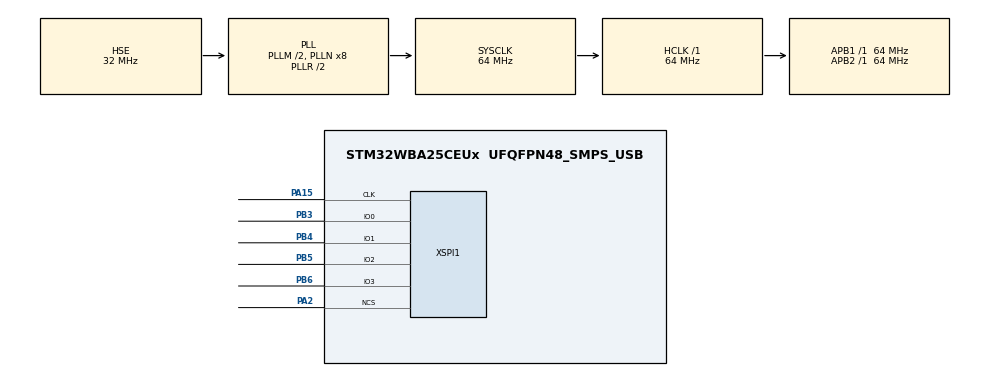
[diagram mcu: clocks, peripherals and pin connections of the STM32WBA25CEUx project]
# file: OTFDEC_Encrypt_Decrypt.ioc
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CORTEX_M33_NS.userName=CORTEX_M33
Mcu.Family=STM32WBA
Mcu.Name=STM32WBA25CEUx
Mcu.Package=UFQFPN48_SMPS_USB
NVIC.AES_IRQn=true\:0\:0\:false\:false\:true\:true\:true\:true
NVIC.OTFDEC1_IRQn=true\:0\:0\:false\:false\:true\:true\:true\:true
NVIC.PriorityGroup=NVIC_PRIORITYGROUP_4
NVIC.XSPI1_IRQn=true\:0\:0\:false\:false\:true\:true\:true\:true
OSC_IN.Mode=HSE-External-Oscillator
OSC_IN.Signal=RCC_OSC_IN
OSC_OUT.Mode=HSE-External-Oscillator
OSC_OUT.Signal=RCC_OSC_OUT
PA15\ (JTDI).Mode=quad_mode
PA15\ (JTDI).Signal=XSPI1_CLK
PA2.Mode=quad_mode
PA2.Signal=XSPI1_NCS
PB3\ (JTDO/TRACESWO).Mode=XSPI1_IO[3\:0]
PB3\ (JTDO/TRACESWO).Signal=XSPI1_IO0
PB4\ (NJTRST).Mode=XSPI1_IO[3\:0]
PB4\ (NJTRST).Signal=XSPI1_IO1
PB5.Mode=XSPI1_IO[3\:0]
PB5.Signal=XSPI1_IO2
PB6.Mode=XSPI1_IO[3\:0]
PB6.Signal=XSPI1_IO3
ProjectManager.HeapSize=0x200
ProjectManager.StackSize=0x400
ProjectManager.TargetToolchain=EWARM V9.60
RCC.ADCFreq_Value=64000000
RCC.AHB5CLKDivider=RCC_SYSCLK_PLL1_DIV2
RCC.AHBFreq_Value=64000000
RCC.APB1Freq_Value=64000000
RCC.APB1TimFreq_Value=64000000
RCC.APB2Freq_Value=64000000
RCC.APB2TimFreq_Value=64000000
RCC.CortexFreq_Value=8000000
RCC.HCLKFreq_Value=64000000
RCC.HSE_VALUE=32000000
RCC.HSI_VALUE=16000000
RCC.LSE_VALUE=32768
RCC.PLLFRACN=0
RCC.PLLM=2
RCC.PLLN=8
RCC.PLLSourceVirtual=RCC_PLLSOURCE_HSE
RCC.SYSCLKFreq_VALUE=64000000
RCC.SYSCLKSourceVirtual=RCC_SYSCLKSOURCE_PLLCLK
RCC.VCOOutputFreq_Value=128000000
VP_AES_VS_AES.Mode=AES_Activate
VP_CORTEX_M33_NS_VS_Hclk.Mode=Hclk_Mode
VP_ICACHE_VS_ICACHE.Mode=DirectMappedCache
VP_OTFDEC1_VS_OTFDEC.Mode=OTFDEC_Activate
VP_PWR_VS_SECSignals.Mode=Security/Privilege
XSPI1.ClockPrescaler=1
XSPI1.FifoThresholdByte=4
XSPI1.MemorySize=HAL_XSPI_SIZE_32MB
XSPI1.MemoryType=HAL_XSPI_MEMTYPE_MACRONIX
board=custom

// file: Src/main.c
/* USER CODE BEGIN Header */
/**
  ******************************************************************************
  * @file           : main.c
  * @brief          : Main program body
  ******************************************************************************
  * @attention
  *
  * Copyright (c) 2025 STMicroelectronics.
  * All rights reserved.
  *
  * This software is licensed under terms that can be found in the LICENSE file
  * in the root directory of this software component.
  * If no LICENSE file comes with this software, it is provided AS-IS.
  *
  ******************************************************************************
  */
/* USER CODE END Header */
#include "main.h"

CRYP_HandleTypeDef hcryp;
__ALIGN_BEGIN static const uint32_t pKeyAES[4] __ALIGN_END = {
                            0x00000000,0x00000000,0x00000000,0x00000000};

OTFDEC_HandleTypeDef hotfdec1;

XSPI_HandleTypeDef hxspi1;

/* USER CODE BEGIN PV */
__IO uint8_t CmdCplt;

const uint32_t plain_data[] = { 0x3f25110f, 0x7760604d, 0xaecc9784, 0xf0eeef65, 0x10a1d1f1,
                                0x71515641, 0xa12111e0, 0xf177d156, 0x20a2d2f2, 0x72525642,
                                0xa22212e0, 0xf278d256, 0x30a3d3f3, 0x73535643, 0xa32313e0,
                                0xf37ad356, 0x40a4d4f4, 0x74545644, 0xa42414e0, 0xf47bd456,
                                0x50a5c5f5, 0x75555645, 0xa52515e0, 0xf57cd556, 0x60a6c6f6,
                                0x76565646, 0xa62616e0, 0xf67df6d6, 0x70a7c7e7, 0x77575647,
                                0xa72717e0, 0xf77ed756, 0x8028c8e8, 0x78585648, 0xa82818e0,
                                0xf8e8d8c8, 0xa02acaea, 0x7a5a564a, 0xaa2a1afa, 0xfaeadaca,
                                0xb0ebcbeb, 0x7b5b564b, 0xab2b1bfb, 0x77ebdb56, 0x4cec1cc0,
                                0x7c5c564c, 0xacac1cfc, 0x78ecdc56, 0x3ded9dd0, 0x7d5d564d,
                                0xadad1dfd, 0x7aeddd56, 0x5eee9ee0, 0x7e5e564e, 0xbeee1efe,
                                0x7beede56, 0x1fef9ff0, 0x7f6f564f, 0xbfaf1fff, 0x7cefdf56};

uint32_t Ciphered_data[256];
uint32_t Plain_AES_test[2*PLAIN_SIZE] = {0};
CRYP_HandleTypeDef hcryp;

uint32_t Key[4][4]     = { { 0x71234567, 0x89ABCDEF, 0x71234567, 0x89ABCDEF },
                           { 0xEDCBA987, 0x6543210F, 0xEDCBA987, 0x6543210F },
                           { 0x23456789, 0xABCDEF01, 0x23456789, 0xABCDEF01 },
                           { 0xCBA98765, 0x43210FED, 0xCBA98765, 0x43210FED }
};

uint32_t Nonce[2][2]   =    { { 0xA5A5A5A5, 0xC3C3C3C3 },
                              { 0x11111111, 0x55555555 }
};

OTFDEC_HandleTypeDef hotfdec;
/* USER CODE END PV */

void SystemClock_Config(void);
static void MX_GPIO_Init(void);
static void MX_ICACHE_Init(void);
static void MX_XSPI1_Init(void);
static void MX_OTFDEC1_Init(void);
static void MX_AES_Init(void);
/* USER CODE BEGIN PFP */
static void XSPI_WriteEnable(XSPI_HandleTypeDef *hxspi);
static void XSPI_AutoPollingMemReady(XSPI_HandleTypeDef *hxspi);
static void XSPI_AutoPollingMemWriteEnable(XSPI_HandleTypeDef *hxspi);
static void XSPI_QuadModeCfg(XSPI_HandleTypeDef *hxspi);
static void CRYP_Cipher(uint32_t index,uint32_t* pRange, uint32_t start_adress_writing_region);

/* USER CODE END PFP */

int main(void)
{

  /* USER CODE BEGIN 1 */
  XSPI_RegularCmdTypeDef sCommand = {0};
  XSPI_MemoryMappedTypeDef sMemMappedCfg = {0};
  uint32_t address = 0;
  uint16_t index;
  __IO uint32_t *mem_addr;
  uint32_t Not_Identic =0 ;
  /* STM32WBAxx HAL library initialization:
  - Systick timer is configured by default as source of time base, but user
  can eventually implement his proper time base source (a general purpose
  timer for example or other time source), keeping in mind that Time base
  duration should be kept 1ms since PPP_TIMEOUT_VALUEs are defined and
  handled in milliseconds basis.
  - Set NVIC Group Priority to 4
  - Low Level Initialization
  */
  /* USER CODE END 1 */

  /* MCU Configuration--------------------------------------------------------*/

  /* Reset of all peripherals, Initializes the Flash interface and the Systick. */
  HAL_Init();

  /* Configure the system clock */
  SystemClock_Config();

  /* USER CODE BEGIN SysInit */
  /* Configure LD1, LD2 and LD3 */
  BSP_LED_Init(LD1);
  BSP_LED_Init(LD2);
  BSP_LED_Init(LD3);
  /* USER CODE END SysInit */

  /* Initialize all configured peripherals */
  MX_GPIO_Init();
  MX_ICACHE_Init();
  MX_XSPI1_Init();
  MX_OTFDEC1_Init();
  MX_AES_Init();
  /* USER CODE BEGIN 2 */
  /* Configure the memory in quad mode ------------------------------------- */
  XSPI_QuadModeCfg(&hxspi1);

  sCommand.InstructionMode    = HAL_XSPI_INSTRUCTION_1_LINE;
  sCommand.InstructionWidth   = HAL_XSPI_INSTRUCTION_8_BITS;
  sCommand.InstructionDTRMode = HAL_XSPI_INSTRUCTION_DTR_DISABLE;
  sCommand.AddressWidth       = HAL_XSPI_ADDRESS_24_BITS;
  sCommand.AddressDTRMode     = HAL_XSPI_ADDRESS_DTR_DISABLE;
  sCommand.AlternateBytesMode = HAL_XSPI_ALT_BYTES_NONE;
  sCommand.DataDTRMode        = HAL_XSPI_DATA_DTR_DISABLE;
  sCommand.DQSMode            = HAL_XSPI_DQS_DISABLE;

  /* Enable write operations ------------------------------------------ */
  XSPI_WriteEnable(&hxspi1);

  /* Erasing Sequence ------------------------------------------------- */
  sCommand.OperationType = HAL_XSPI_OPTYPE_COMMON_CFG;
  sCommand.Instruction   = SECTOR_ERASE_CMD;
  sCommand.AddressMode   = HAL_XSPI_ADDRESS_1_LINE;
  sCommand.Address       = address;
  sCommand.DataMode      = HAL_XSPI_DATA_NONE;
  sCommand.DummyCycles   = 0U;

  if (HAL_XSPI_Command_IT(&hxspi1, &sCommand) != HAL_OK)
  {
    Error_Handler();
  }

  /* Configure automatic polling mode to wait for end of erase ------ */
  XSPI_AutoPollingMemReady(&hxspi1);

  /* Enable write operations ---------------------------------------- */
  XSPI_WriteEnable(&hxspi1);

  /* Writing Sequence ----------------------------------------------- */
  sCommand.Instruction        = QUAD_PAGE_PROG_CMD;
  sCommand.Address            = address;
  sCommand.AddressMode        = HAL_XSPI_ADDRESS_4_LINES;
  sCommand.DataLength         = BUFFERSIZE;
  sCommand.DummyCycles        = 0U;
  sCommand.DataMode           = HAL_XSPI_DATA_4_LINES;

  if (HAL_XSPI_Command(&hxspi1, &sCommand, HAL_XSPI_TIMEOUT_DEFAULT_VALUE) != HAL_OK)
  {
    Error_Handler();
  }

  /* Encrypt the plain data ------------------------------------- */
  CRYP_Cipher(0,(uint32_t*)0x90000000,0);

  /* Transfer the encrypted data to the external memory ------------------------------------- */
  if(HAL_XSPI_Transmit(&hxspi1, (uint8_t*)Ciphered_data,  BUFFERSIZE) != HAL_OK)
  {
    Error_Handler();
  }

  /* Memory-mapped mode configuration ------------------------------- */
  sCommand.OperationType = HAL_XSPI_OPTYPE_READ_CFG;
  sCommand.Instruction   = FOUR_IO_READ_CMD;
  sCommand.DummyCycles   = DUMMY_CLOCK_CYCLES_4READ;
  sCommand.AddressMode   = HAL_XSPI_ADDRESS_4_LINES;

  if (HAL_XSPI_Command(&hxspi1, &sCommand, HAL_XSPI_TIMEOUT_DEFAULT_VALUE) != HAL_OK)
  {
    Error_Handler();
  }

  sMemMappedCfg.TimeOutActivation  = HAL_XSPI_TIMEOUT_COUNTER_ENABLE;
  sMemMappedCfg.TimeoutPeriodClock = 0x50U;
   if (HAL_XSPI_MemoryMapped(&hxspi1, &sMemMappedCfg) != HAL_OK)
  {
    Error_Handler();
  }

  /* In memory-mapped mode, not possible to check if the memory is ready
  after the programming. So a delay corresponding to max page programming
  time is added */
  HAL_Delay(MEMORY_PAGE_PROG_DELAY);

  OTFDEC_RegionConfigTypeDef Config;

  hotfdec.Instance = OTFDEC1;
  HAL_OTFDEC_DeInit(&hotfdec);
  if (HAL_OTFDEC_Init(&hotfdec) != HAL_OK)
  {
    Error_Handler();
  }

  __HAL_OTFDEC_ENABLE_IT(&hotfdec, OTFDEC_ALL_INT);

  /* Set OTFDEC Mode */
  if (HAL_OTFDEC_RegionSetMode(&hotfdec, 0, OTFDEC_REG_MODE_INSTRUCTION_OR_DATA_ACCESSES) != HAL_OK)
  {
    Error_Handler();
  }
  /* Set OTFDEC Key */
  if (HAL_OTFDEC_RegionSetKey(&hotfdec, 0, Key[0])  != HAL_OK)
  {
    Error_Handler();
  }

  /* Configure and lock region,enable OTFDEC decryption */
  Config.Nonce[0]     = Nonce[0][0];
  Config.Nonce[1]     = Nonce[0][1];
  Config.StartAddress = 0x90000000;
  Config.EndAddress   = 0x90000fff;
  Config.Version      = 0xFEDC;
  if (HAL_OTFDEC_RegionConfig(&hotfdec, 0, &Config, OTFDEC_REG_CONFIGR_LOCK_ENABLE) != HAL_OK)
  {
    Error_Handler();
  }

  /* Reading Sequence ----------------------------------------------- */
  mem_addr = (uint32_t *)(XSPI1_BASE_MM + address);
  for (index = 0; index < 60; index++)
  {
    if (*mem_addr != plain_data[index])
    {
      Not_Identic++;
    }
    mem_addr++;
  }

  if (Not_Identic !=0)
  {
    Error_Handler();
  }
  else{
    BSP_LED_Toggle(LD1);
    HAL_Delay(50);

    address += XSPI_PAGE_SIZE;
    if(address >= XSPI_END_ADDR)
    {
      address = 0;
    }

    /* Abort XSPI driver to stop the memory-mapped mode ------------ */
    if (HAL_XSPI_Abort(&hxspi1) != HAL_OK)
    {
      Error_Handler();
    }
  }
  /* USER CODE END 2 */

  /* Infinite loop */
  while (1)
  {

  }
}

void SystemClock_Config(void)
{
  RCC_OscInitTypeDef RCC_OscInitStruct = {0};
  RCC_ClkInitTypeDef RCC_ClkInitStruct = {0};

  /** Supply configuration update enable
  */
  HAL_PWREx_ConfigSupply(PWR_LDO_SUPPLY);

  /** Configure the main internal regulator output voltage
  */
  if (HAL_PWREx_ControlVoltageScaling(PWR_REGULATOR_VOLTAGE_SCALE1) != HAL_OK)
  {
    Error_Handler();
  }

  /** Initializes the CPU, AHB and APB busses clocks
  */
  RCC_OscInitStruct.OscillatorType = RCC_OSCILLATORTYPE_HSE;
  RCC_OscInitStruct.HSEState = RCC_HSE_ON;
  RCC_OscInitStruct.HSEDiv = RCC_HSE_DIV1;
  RCC_OscInitStruct.PLL1.PLLState = RCC_PLL_ON;
  RCC_OscInitStruct.PLL1.PLLSource = RCC_PLLSOURCE_HSE;
  RCC_OscInitStruct.PLL1.PLLM = 2;
  RCC_OscInitStruct.PLL1.PLLN = 8;
  RCC_OscInitStruct.PLL1.PLLP = 2;
  RCC_OscInitStruct.PLL1.PLLQ = 2;
  RCC_OscInitStruct.PLL1.PLLR = 2;
  RCC_OscInitStruct.PLL1.PLLFractional = 0;
  if (HAL_RCC_OscConfig(&RCC_OscInitStruct) != HAL_OK)
  {
    Error_Handler();
  }

  /** Initializes the CPU, AHB and APB busses clocks
  */
  RCC_ClkInitStruct.ClockType = RCC_CLOCKTYPE_HCLK|RCC_CLOCKTYPE_SYSCLK
                              |RCC_CLOCKTYPE_PCLK1|RCC_CLOCKTYPE_PCLK2
                              |RCC_CLOCKTYPE_PCLK7|RCC_CLOCKTYPE_HCLK5;
  RCC_ClkInitStruct.SYSCLKSource = RCC_SYSCLKSOURCE_PLLCLK;
  RCC_ClkInitStruct.AHBCLKDivider = RCC_SYSCLK_DIV1;
  RCC_ClkInitStruct.APB1CLKDivider = RCC_HCLK_DIV1;
  RCC_ClkInitStruct.APB2CLKDivider = RCC_HCLK_DIV1;
  RCC_ClkInitStruct.APB7CLKDivider = RCC_HCLK_DIV1;
  RCC_ClkInitStruct.AHB5_PLL1_CLKDivider = RCC_SYSCLK_PLL1_DIV2;
  RCC_ClkInitStruct.AHB5_HSEHSI_CLKDivider = RCC_SYSCLK_HSEHSI_DIV1;

  if (HAL_RCC_ClockConfig(&RCC_ClkInitStruct, FLASH_LATENCY_1) != HAL_OK)
  {
    Error_Handler();
  }
}

static void MX_AES_Init(void)
{

  hcryp.Instance = AES;
  hcryp.Init.DataType = CRYP_NO_SWAP;
  hcryp.Init.KeySize = CRYP_KEYSIZE_128B;
  hcryp.Init.pKey = (uint32_t *)pKeyAES;
  hcryp.Init.Algorithm = CRYP_AES_ECB;
  hcryp.Init.DataWidthUnit = CRYP_DATAWIDTHUNIT_WORD;
  hcryp.Init.HeaderWidthUnit = CRYP_HEADERWIDTHUNIT_WORD;
  hcryp.Init.KeyIVConfigSkip = CRYP_KEYIVCONFIG_ALWAYS;
  if (HAL_CRYP_Init(&hcryp) != HAL_OK)
  {
    Error_Handler();
  }

}

static void MX_ICACHE_Init(void)
{

  /** Enable instruction cache in 1-way (direct mapped cache)
  */
  if (HAL_ICACHE_ConfigAssociativityMode(ICACHE_1WAY) != HAL_OK)
  {
    Error_Handler();
  }
  if (HAL_ICACHE_Enable() != HAL_OK)
  {
    Error_Handler();
  }

}

static void MX_OTFDEC1_Init(void)
{

  hotfdec1.Instance = OTFDEC1;
  if (HAL_OTFDEC_Init(&hotfdec1) != HAL_OK)
  {
    Error_Handler();
  }

}

static void MX_XSPI1_Init(void)
{

  /* XSPI1 parameter configuration*/
  hxspi1.Instance = XSPI1;
  hxspi1.Init.FifoThresholdByte = 4;
  hxspi1.Init.MemoryMode = HAL_XSPI_SINGLE_MEM;
  hxspi1.Init.MemoryType = HAL_XSPI_MEMTYPE_MACRONIX;
  hxspi1.Init.MemorySize = HAL_XSPI_SIZE_32MB;
  hxspi1.Init.ChipSelectHighTimeCycle = 1;
  hxspi1.Init.FreeRunningClock = HAL_XSPI_FREERUNCLK_DISABLE;
  hxspi1.Init.ClockMode = HAL_XSPI_CLOCK_MODE_0;
  hxspi1.Init.ClockPrescaler = 1;
  hxspi1.Init.SampleShifting = HAL_XSPI_SAMPLE_SHIFT_NONE;
  hxspi1.Init.DelayHoldQuarterCycle = HAL_XSPI_DHQC_DISABLE;
  hxspi1.Init.DelayBlockBypass = HAL_XSPI_DELAY_BLOCK_BYPASS;
  hxspi1.Init.MemorySelect = HAL_XSPI_CSSEL_NCS1;
  if (HAL_XSPI_Init(&hxspi1) != HAL_OK)
  {
    Error_Handler();
  }

}

static void MX_GPIO_Init(void)
{

  /* GPIO Ports Clock Enable */
  __HAL_RCC_GPIOA_CLK_ENABLE();
  __HAL_RCC_GPIOB_CLK_ENABLE();

}

/* USER CODE BEGIN 4 */
/**
  * @brief  Command completed callback.
  * @param  hxspi: XSPI handle
  * @retval None
  */
void HAL_XSPI_CmdCpltCallback(XSPI_HandleTypeDef *hxspi)
{
  CmdCplt++;
}

/**
  * @brief  Transfer Error callback.
  * @param  hxspi: XSPI handle
  * @retval None
  */
void HAL_XSPI_ErrorCallback(XSPI_HandleTypeDef *hxspi)
{
  Error_Handler();
}

/**
  * @brief  This function send a Write Enable and wait it is effective.
  * @param  hxspi: XSPI handle
  * @retval None
  */
static void XSPI_WriteEnable(XSPI_HandleTypeDef *hxspi)
{
  XSPI_RegularCmdTypeDef  sCommand = {0};

  /* Enable write operations ------------------------------------------ */
  sCommand.OperationType      = HAL_XSPI_OPTYPE_COMMON_CFG;
  sCommand.Instruction        = WRITE_ENABLE_CMD;
  sCommand.InstructionMode    = HAL_XSPI_INSTRUCTION_1_LINE;
  sCommand.InstructionWidth   = HAL_XSPI_INSTRUCTION_8_BITS;
  sCommand.InstructionDTRMode = HAL_XSPI_INSTRUCTION_DTR_DISABLE;
  sCommand.AddressMode        = HAL_XSPI_ADDRESS_NONE;
  sCommand.AlternateBytesMode = HAL_XSPI_ALT_BYTES_NONE;
  sCommand.DataMode           = HAL_XSPI_DATA_NONE;
  sCommand.DummyCycles        = 0U;
  sCommand.DQSMode            = HAL_XSPI_DQS_DISABLE;

  if (HAL_XSPI_Command(hxspi, &sCommand, HAL_XSPI_TIMEOUT_DEFAULT_VALUE) != HAL_OK)
  {
    Error_Handler();
  }

  /* Configure automatic polling mode to wait for write enabling  ------ */
  XSPI_AutoPollingMemWriteEnable(&hxspi1);
}

/**
  * @brief  This function read the SR of the memory and wait the WIP.
  * @param  hxspi: XSPI handle
  * @retval None
  */
static void XSPI_AutoPollingMemReady(XSPI_HandleTypeDef *hxspi)
{
  XSPI_RegularCmdTypeDef  sCommand = {0};
  uint8_t reg = 0xFFU;

  while((reg & SR_WIP_BIT) == SR_WIP_BIT)
  {
    /* Configure automatic polling mode to wait for write enabling ---- */
    sCommand.Instruction     = READ_STATUS_REG_CMD;
    sCommand.InstructionMode = HAL_XSPI_INSTRUCTION_1_LINE;
    sCommand.AddressMode     = HAL_XSPI_ADDRESS_NONE;
    sCommand.AddressDTRMode  = HAL_XSPI_ADDRESS_DTR_DISABLE;
    sCommand.DataMode        = HAL_XSPI_DATA_1_LINE;
    sCommand.DataDTRMode     = HAL_XSPI_DATA_DTR_DISABLE;
    sCommand.DataLength      = 1U;
    sCommand.DummyCycles     = DUMMY_CLOCK_CYCLES_READ_REG;

    if (HAL_XSPI_Command(hxspi, &sCommand, HAL_XSPI_TIMEOUT_DEFAULT_VALUE) != HAL_OK)
    {
      Error_Handler();
    }

    if (HAL_XSPI_Receive(hxspi, &reg, HAL_XSPI_TIMEOUT_DEFAULT_VALUE) != HAL_OK)
    {
      Error_Handler();
    }
  }
}

/**
  * @brief  This function read the SR of the memory and wait the WEL.
  * @param  hxspi: XSPI handle
  * @retval None
  */
static void XSPI_AutoPollingMemWriteEnable(XSPI_HandleTypeDef *hxspi)
{
  XSPI_RegularCmdTypeDef  sCommand = {0};
  uint8_t reg = 0x0U;

  while((reg & SR_WEL_BIT) != SR_WEL_BIT)
  {
    /* Configure automatic polling mode to wait for write enabling ---- */
    sCommand.Instruction     = READ_STATUS_REG_CMD;
    sCommand.InstructionMode = HAL_XSPI_INSTRUCTION_1_LINE;
    sCommand.AddressMode     = HAL_XSPI_ADDRESS_NONE;
    sCommand.AddressDTRMode  = HAL_XSPI_ADDRESS_DTR_DISABLE;
    sCommand.DataMode        = HAL_XSPI_DATA_1_LINE;
    sCommand.DataDTRMode     = HAL_XSPI_DATA_DTR_DISABLE;
    sCommand.DataLength      = 1U;
    sCommand.DummyCycles     = DUMMY_CLOCK_CYCLES_READ_REG;

    if (HAL_XSPI_Command(hxspi, &sCommand, HAL_XSPI_TIMEOUT_DEFAULT_VALUE) != HAL_OK)
    {
      Error_Handler();
    }

    if (HAL_XSPI_Receive(hxspi, &reg, HAL_XSPI_TIMEOUT_DEFAULT_VALUE) != HAL_OK)
    {
      Error_Handler();
    }
  }
}

/**
  * @brief  This function configure the memory in Quad mode.
  * @param  hxspi: XSPI handle
  * @retval None
  */
static void XSPI_QuadModeCfg(XSPI_HandleTypeDef *hxspi)
{
  XSPI_RegularCmdTypeDef  sCommand = {0};
  uint8_t reg[3];

  /* Read status register operation */
  sCommand.Instruction        = READ_STATUS_REG_CMD;
  sCommand.DataMode           = HAL_XSPI_DATA_1_LINE;
  sCommand.InstructionMode    = HAL_XSPI_INSTRUCTION_1_LINE;
  sCommand.InstructionWidth   = HAL_XSPI_INSTRUCTION_8_BITS;
  sCommand.InstructionDTRMode = HAL_XSPI_INSTRUCTION_DTR_DISABLE;
  sCommand.AddressMode        = HAL_XSPI_ADDRESS_NONE;
  sCommand.AlternateBytesMode = HAL_XSPI_ALT_BYTES_NONE;
  sCommand.DataMode           = HAL_XSPI_DATA_1_LINE;
  sCommand.DataDTRMode        = HAL_XSPI_DATA_DTR_DISABLE;
  sCommand.DataLength         = 1U;
  sCommand.DummyCycles        = DUMMY_CLOCK_CYCLES_READ_REG;
  sCommand.DQSMode            = HAL_XSPI_DQS_DISABLE;

  if (HAL_XSPI_Command(hxspi, &sCommand, HAL_XSPI_TIMEOUT_DEFAULT_VALUE) != HAL_OK)
  {
    Error_Handler();
  }

  if (HAL_XSPI_Receive(hxspi, &reg[0], HAL_XSPI_TIMEOUT_DEFAULT_VALUE) != HAL_OK)
  {
    Error_Handler();
  }

  /* Read configuration register operation */
  sCommand.Instruction        = READ_CONF_REG_CMD;
  sCommand.DataLength         = 2U;

  if (HAL_XSPI_Command(hxspi, &sCommand, HAL_XSPI_TIMEOUT_DEFAULT_VALUE) != HAL_OK)
  {
    Error_Handler();
  }

  if (HAL_XSPI_Receive(hxspi, &reg[1], HAL_XSPI_TIMEOUT_DEFAULT_VALUE) != HAL_OK)
  {
    Error_Handler();
  }

  SET_BIT(reg[0], SR_QE_BIT);

  /* Enable write operations ---------------------------------------- */
  sCommand.OperationType      = HAL_XSPI_OPTYPE_COMMON_CFG;
  sCommand.Instruction        = WRITE_ENABLE_CMD;
  sCommand.DataMode           = HAL_XSPI_DATA_NONE;

  if (HAL_XSPI_Command(hxspi, &sCommand, HAL_XSPI_TIMEOUT_DEFAULT_VALUE) != HAL_OK)
  {
    Error_Handler();
  }

  /* Configure automatic polling mode to wait for write enabling ---- */
  XSPI_AutoPollingMemWriteEnable(&hxspi1);

  /* Write Status register (with quad mode enable) --------- */
  sCommand.Instruction    = WRITE_STATUS_REGISTER;
  sCommand.DataMode       = HAL_XSPI_DATA_1_LINE;
  sCommand.DataLength     = 3U;

  if (HAL_XSPI_Command(hxspi, &sCommand, HAL_XSPI_TIMEOUT_DEFAULT_VALUE) != HAL_OK)
  {
    Error_Handler();
  }

  if (HAL_XSPI_Transmit(hxspi, &reg[0], HAL_XSPI_TIMEOUT_DEFAULT_VALUE) != HAL_OK)
  {
    Error_Handler();
  }

  /* Wait that the memory is ready ---------------------------------- */
  XSPI_AutoPollingMemReady(hxspi);
}

static void CRYP_Cipher(uint32_t index,uint32_t* pRange, uint32_t start_adress_writing_region)
{
  uint32_t tmp;
  uint32_t AESIV[4] = {0};
  uint32_t  j = 0;
  uint32_t Key_tmp[4]={Key[index][0],Key[index][1],Key[index][2],Key[index][3]};

  Key_tmp[0]=Key[index][0];
  Key_tmp[1]=Key[index][1];
  Key_tmp[2]=Key[index][2];
  Key_tmp[3]=Key[index][3];

  tmp       = Key_tmp[0];
  Key_tmp[0] = Key_tmp[3];
  Key_tmp[3] = tmp;
  tmp       = Key_tmp[1];
  Key_tmp[1] = Key_tmp[2];
  Key_tmp[2] = tmp;

  /* Enable CRYP clock */
 SET_BIT(RCC->AHB2ENR, RCC_AHB2ENR_AESEN); //  __HAL_RCC_CRYP_CLK_ENABLE();
 SET_BIT(RCC->AHB2RSTR, RCC_AHB2RSTR_AESRST); //  __HAL_RCC_CRYP_FORCE_RESET();
 CLEAR_BIT(RCC->AHB2RSTR, RCC_AHB2RSTR_AESRST);//   __HAL_RCC_CRYP_RELEASE_RESET();

  AESIV [3] = ((0)<<28) | ((0x90000000+start_adress_writing_region)>>4);
  AESIV [2] = 0xFEDC;
  AESIV [1] = Nonce[0][0];
  AESIV [0] = Nonce[0][1];

  /* Set the CRYP parameters */
  hcryp.Instance = AES;// CRYP;//
  /* Set the CRYP parameters */
  hcryp.Init.DataType  = CRYP_NO_SWAP;
  hcryp.Init.KeySize   = CRYP_KEYSIZE_128B;
  hcryp.Init.pKey      = Key_tmp;
  hcryp.Init.pInitVect = AESIV;
  hcryp.Init.Algorithm = CRYP_AES_CTR;
  HAL_CRYP_Init(&hcryp);
  for (j=0; j<15;j++)
  {
    Plain_AES_test[4*j] = plain_data[4*j+3+(start_adress_writing_region/4)];
    Plain_AES_test[4*j+3] = plain_data[4*j+(start_adress_writing_region/4)];
    Plain_AES_test[4*j+1] = plain_data[4*j+2+(start_adress_writing_region/4)];
    Plain_AES_test[4*j+2] = plain_data[4*j+1+(start_adress_writing_region/4)] ;
  }
  HAL_CRYP_Encrypt(&hcryp,  Plain_AES_test ,PLAIN_SIZE, Ciphered_data, 0x1000);

  for (j=0; j<(PLAIN_SIZE)/4;j++)
  {
    tmp = Ciphered_data[4*j];
    Ciphered_data[4*j] = Ciphered_data[4*j+3];
    Ciphered_data[4*j+3] = tmp;
    tmp = Ciphered_data[4*j+1];
    Ciphered_data[4*j+1] = Ciphered_data[4*j+2];
    Ciphered_data[4*j+2] = tmp;
  }

  HAL_CRYP_DeInit(&hcryp);
}
/* USER CODE END 4 */

void Error_Handler(void)
{
  /* USER CODE BEGIN Error_Handler_Debug */
  /* User can add his own implementation to report the HAL error return state */
  /* Turn LD1 off */
  BSP_LED_Off(LD1);
  /* Toggle LD3 for error */
  while(1)
  {
    BSP_LED_Toggle(LD3);
    HAL_Delay(1000);
  }
  /* USER CODE END Error_Handler_Debug */
}
